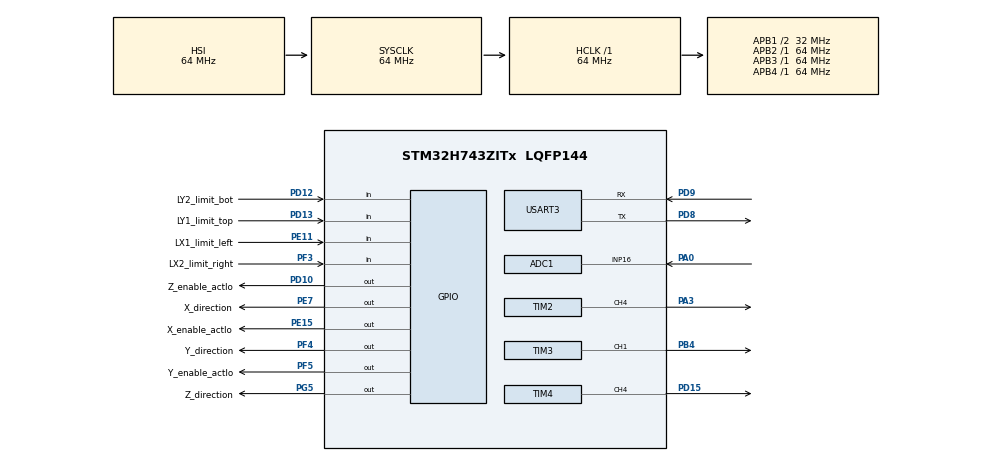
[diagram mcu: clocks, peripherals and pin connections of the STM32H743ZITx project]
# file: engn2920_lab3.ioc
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ADC1.Channel-0\#ChannelRegularConversion=ADC_CHANNEL_16
ADC1.NbrOfConversionFlag=1
ADC1.OffsetNumber-0\#ChannelRegularConversion=ADC_OFFSET_NONE
ADC1.OffsetSignedSaturation-0\#ChannelRegularConversion=DISABLE
ADC1.Rank-0\#ChannelRegularConversion=1
ADC1.SamplingTime-0\#ChannelRegularConversion=ADC_SAMPLETIME_1CYCLE_5
ADC1.master=1
Mcu.Family=STM32H7
Mcu.Name=STM32H743ZITx
Mcu.Package=LQFP144
NVIC.PriorityGroup=NVIC_PRIORITYGROUP_4
NVIC.TIM2_IRQn=true\:0\:0\:false\:false\:true\:true\:true\:true
NVIC.TIM3_IRQn=true\:0\:0\:false\:false\:true\:true\:true\:true
NVIC.TIM4_IRQn=true\:0\:0\:false\:false\:true\:true\:true\:true
PA0.Mode=IN16-Single-Ended
PA0.Signal=ADC1_INP16
PA3.Signal=S_TIM2_CH4
PB4\ (NJTRST).Signal=S_TIM3_CH1
PD10.GPIO_Label=Z_enable_actlo
PD10.PinState=GPIO_PIN_SET
PD10.Signal=GPIO_Output
PD12.GPIO_Label=LY2_limit_bot
PD12.Signal=GPIO_Input
PD13.GPIO_Label=LY1_limit_top
PD13.Signal=GPIO_Input
PD15.Signal=S_TIM4_CH4
PD8.Mode=Asynchronous
PD8.Signal=USART3_TX
PD9.Mode=Asynchronous
PD9.Signal=USART3_RX
PE11.GPIO_Label=LX1_limit_left
PE11.Signal=GPIO_Input
PE15.GPIO_Label=X_enable_actlo
PE15.PinState=GPIO_PIN_SET
PE15.Signal=GPIO_Output
PE7.GPIO_Label=X_direction
PE7.Signal=GPIO_Output
PF3.GPIO_Label=LX2_limit_right
PF3.Signal=GPIO_Input
PF4.GPIO_Label=Y_direction
PF4.Signal=GPIO_Output
PF5.GPIO_Label=Y_enable_actlo
PF5.PinState=GPIO_PIN_SET
PF5.Signal=GPIO_Output
PG5.GPIO_Label=Z_direction
PG5.Signal=GPIO_Output
ProjectManager.HeapSize=0x200
ProjectManager.StackSize=0x400
ProjectManager.TargetToolchain=STM32CubeIDE
RCC.ADCFreq_Value=75000000
RCC.APB1Freq_Value=32000000
RCC.APB2Freq_Value=64000000
RCC.APB3Freq_Value=64000000
RCC.APB4Freq_Value=64000000
RCC.CortexFreq_Value=64000000
RCC.D2PPRE1=RCC_APB1_DIV2
RCC.DIVM2=4
RCC.DIVN2=9
RCC.HCLKFreq_Value=64000000
RCC.PLL2FRACN=3072
RCC.SYSCLKFreq_VALUE=64000000
RCC.USBFreq_Value=129000000
SH.S_TIM2_CH4.0=TIM2_CH4,PWM Generation4 CH4
SH.S_TIM3_CH1.0=TIM3_CH1,PWM Generation1 CH1
SH.S_TIM4_CH4.0=TIM4_CH4,PWM Generation4 CH4
TIM2.Channel-PWM\ Generation4\ CH4=TIM_CHANNEL_4
TIM3.Channel-PWM\ Generation1\ CH1=TIM_CHANNEL_1
TIM4.Channel-PWM\ Generation4\ CH4=TIM_CHANNEL_4
USART3.VirtualMode-Asynchronous=VM_ASYNC
board=custom

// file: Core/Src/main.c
/* USER CODE BEGIN Header */
/**
  ******************************************************************************
  * @file           : main.c
  * @brief          : Main program body
  ******************************************************************************
  * @attention
  *
  * Copyright (c) 2024 STMicroelectronics.
  * All rights reserved.
  *
  * This software is licensed under terms that can be found in the LICENSE file
  * in the root directory of this software component.
  * If no LICENSE file comes with this software, it is provided AS-IS.
  *
  ******************************************************************************
  */
/* USER CODE END Header */
#include "main.h"

/* USER CODE BEGIN Includes */
#include <string.h>
#include <math.h>
#include <stdio.h>
#include <stdlib.h>
#include <stdarg.h>
#include <stdbool.h>
/* USER CODE END Includes */

/* USER CODE BEGIN PD */
#define X_TABLE_SIZE 500
#define Y_TABLE_SIZE 500

/*
#define x_on HAL_GPIO_WritePin(X_enable_actlo_GPIO_Port, X_enable_actlo_Pin, 0)
#define x_off HAL_GPIO_WritePin(X_enable_actlo_GPIO_Port, X_enable_actlo_Pin, 1)
#define x_move_left HAL_GPIO_WritePin(X_enable_actlo_GPIO_Port, X_enable_actlo_Pin, 1)
#define x_move_rigjt HAL_GPIO_WritePin(X_enable_actlo_GPIO_Port, X_enable_actlo_Pin, 0)
*/

/* USER CODE END PD */

ADC_HandleTypeDef hadc1;

TIM_HandleTypeDef htim2;
TIM_HandleTypeDef htim3;
TIM_HandleTypeDef htim4;

UART_HandleTypeDef huart3;

void SystemClock_Config(void);
static void MX_GPIO_Init(void);
static void MX_ADC1_Init(void);
static void MX_TIM2_Init(void);
static void MX_TIM3_Init(void);
static void MX_TIM4_Init(void);
static void MX_USART3_UART_Init(void);

/* USER CODE BEGIN 0 */
signed int x_pos=0;
signed int y_pos=0;
int arr_X[X_TABLE_SIZE];
int arr_Y[Y_TABLE_SIZE];

volatile bool X_moveCompleted = false;
volatile bool Y_moveCompleted = false;

int X_step_count = 0; //global
int Y_step_count = 0; //global
int X_moving = 0;
int Y_moving = 0;
int X_step_goal = 0;
int Y_step_goal = 0;
int X_period = 0;
int Y_period = 0;
int x_i;
int y_i;

int pen_is_down = 0;
int pen_is_up = 0;
uint32_t pen_pressure= 0;

static uint32_t gper=0;

static void myprintf (const char *fmt, ...)
{
	va_list arglist;
	int nby;
	unsigned char st[256];

	if (!fmt) return;
	va_start(arglist,fmt);
	nby = vsnprintf((char *)st,sizeof(st),fmt,arglist);
	va_end(arglist);
	if (nby < 0) { nby = sizeof(st)-1; } //print truncated string in case too long
	if (nby) HAL_UART_Transmit(&huart3,st,nby,10);
}

int mygetch (void) //Poll
{
	uint8_t ch = 0;
	if (HAL_UART_Receive(&huart3, (uint8_t *)&ch, 1, 0) == HAL_OK) return ch;
	return -1; //HAL_TIMEOUT
}

void generate_lookup_table(int *arr, int table_size) {
    float t_max = 0.75; // Maximum time to reach full speed
    int v_min= 2000;
	int v_max= 16000;
    float t = 0;
    int f = v_min;
    for (int i = 0; i < table_size; i++) {
        if (t < t_max) {
            t += (float)1/f;
            f = ((v_max - v_min) * t / t_max) + v_min;
            arr[i] = 64000000 / f;  // Calculate timer reload value based on frequency
        }
    }
}

int min(int a, int b) {
    return (a < b) ? a : b;
}

float x_ratio = 1.0;
float y_ratio = 1.0;
void HAL_TIM_PWM_PulseFinishedCallback(TIM_HandleTypeDef *htim)
{
   if (htim == &htim2 && X_moving)
   {
	   /*
		   float x_ratio = 1.0;
			   if (Y_step_goal > X_step_goal){
				   x_ratio = (Y_step_goal / X_step_goal);
				   int k = X_step_count * x_ratio;
				   x_i=  min(min(k, X_step_goal - k), X_TABLE_SIZE-1);
				   X_period = x_ratio * arr_X[x_i] - 1;
			   }else{
				   x_i = min(min(X_step_count, X_step_goal - X_step_count-1), X_TABLE_SIZE-1);
				   X_period = arr_X[x_i] - 1;
			   }
			   */

	   /*
	   if (Y_step_goal > X_step_goal){
		   x_ratio = (Y_step_goal / X_step_goal);
	   	   	   X_period = arr_X[100]*x_ratio  - 1;
	   }else{
		   //x_ratio=1.0;
		   //X_period = arr_X[100] - 1;
	   }
  			   TIM2->ARR = X_period-1;
  			   TIM2->CCR4 = X_period/2-1;

  			   */

		   if (X_step_count >= X_step_goal){
		   			  X_moving = 0;
		   			  HAL_GPIO_WritePin(X_enable_actlo_GPIO_Port, X_enable_actlo_Pin, 1);
		   			  TIM2->ARR = 0;
		   			  HAL_TIM_PWM_Stop_IT(&htim2, TIM_CHANNEL_4);
		   			  X_moveCompleted= true;
		   			  myprintf("DONE moving X %d\n\r",X_step_count);

		   			 Y_moving = 0;
				  HAL_GPIO_WritePin(Y_enable_actlo_GPIO_Port, Y_enable_actlo_Pin, 1);
				  TIM3->ARR = 0;
				  HAL_TIM_PWM_Stop_IT(&htim3, TIM_CHANNEL_1);
				  Y_moveCompleted = true;
				  myprintf("DONE moving Y %d\n\r",Y_step_goal);
		   		   }
		   X_step_count++;//=x_ratio;
   }

   if (htim == &htim3 && Y_moving)
     {
  			   /*
  			   if ( X_step_goal > Y_step_goal){
  				   y_ratio= (X_step_goal/Y_step_goal);
				   int k = Y_step_count * y_ratio;
				   y_i=  min(min(k, Y_step_goal  - k), Y_TABLE_SIZE-1);
				   //myprintf("y k= %d,  i= %d",k, y_i);
  			   }else{
  				 y_ratio=1.0;
  				   y_i = min(min(Y_step_count, Y_step_goal - Y_step_count-1), Y_TABLE_SIZE-1);
  			   }
  			   */
/*
	   	   	   	   if ( X_step_goal > Y_step_goal){
	     				   y_ratio= (X_step_goal/Y_step_goal);
	     				   Y_period = arr_Y[100]/y_ratio  - 1;
	   				   //myprintf("y k= %d,  i= %d",k, y_i);
	     			   }else{
	     				 y_ratio=1.0;
	     				 Y_period = arr_Y[100] - 1;
	     				  // y_i = min(min(Y_step_count, Y_step_goal - Y_step_count-1), Y_TABLE_SIZE-1);
	     			   }
	     			    	   	 TIM3->ARR = Y_period-1;
	   	  TIM3->CCR1 = Y_period/2-1;
*/
/*
  			   if(!gper){
  				   gper = y_ratio * arr_Y[100];
  				   TIM3->CCR1 = 1000-1;
  			   }else{
  				   TIM3->CCR1 = 0;
  			   }
  			   uint32_t u = min(gper>>(gper >= 65536),65536);
  			   TIM3->ARR = u-1;
  			   gper -= u;
  			    	   	 TIM3->ARR = Y_period-1;
	   	  TIM3->CCR1 = Y_period/2-1;

  			   */

/*
  			 if (Y_step_count/y_ratio >= Y_step_goal){
  			   			  Y_moving = 0;
  			   			  HAL_GPIO_WritePin(Y_enable_actlo_GPIO_Port, Y_enable_actlo_Pin, 1);
  			   			  TIM3->ARR = 0;
  			   			  HAL_TIM_PWM_Stop_IT(&htim3, TIM_CHANNEL_1);
  			   			  Y_moveCompleted = true;
  			   			  myprintf("DONE moving Y %d\n\r",Y_step_goal);
  			 }

  		 Y_step_count++;//y_ratio;
  		 */

     }

   if(htim == &htim4)
   {
	   // if pen up, move till adc #>
	   if (pen_pressure > 10000){
		   pen_is_down=1;
	   }

	   if(pen_pressure < 500 ){ //// if move pen down, move till adc #<
		   pen_is_up=1;
	   }
   }
}

void step_motor_X(int M, int x_dir){
	myprintf("X -> dir =%d, steps= %d %d\n\r",x_dir, M);
	X_moving = 1;
	X_step_goal = M;
	X_step_count = 0;
	x_i=0;

	TIM2->ARR = arr_X[0]-1; //write period for next cycle
	TIM2->CCR4 = 1000 ;

	HAL_GPIO_WritePin(X_enable_actlo_GPIO_Port, X_enable_actlo_Pin, 0);
	HAL_GPIO_WritePin(X_direction_GPIO_Port, X_direction_Pin, x_dir);

	HAL_TIM_PWM_Start_IT(&htim2, TIM_CHANNEL_4); // Start PWM
}

void step_motor_Y(int M,int y_dir){
	myprintf("Y -> dir =%d, steps= %d \n\r",y_dir, M);
	Y_moving = 1;
	Y_step_goal = M;
	Y_step_count = 0;
	y_i=0;

	TIM3->ARR = arr_Y[0]-1; //write period for next cycle
	TIM3->CCR1 = 1000 ;

	HAL_GPIO_WritePin(Y_enable_actlo_GPIO_Port, Y_enable_actlo_Pin, 0);
	HAL_GPIO_WritePin(Y_direction_GPIO_Port, Y_direction_Pin, y_dir);

	HAL_TIM_PWM_Start_IT(&htim3, TIM_CHANNEL_1); // Start PWM
}

void step_motor_XY(int M_x,int x_dir,int M_y,int y_dir){
		myprintf("step XY [%d, %d]\n\r",M_x,M_y);
		X_step_goal = M_x;
		X_step_count=0;

		float r = M_x/M_y;

		TIM2->ARR = r*arr_X[300]-1; //write period for next cycle
		TIM2->CCR4 = arr_X[0]/2 ;

		HAL_GPIO_WritePin(X_enable_actlo_GPIO_Port, X_enable_actlo_Pin, 0);
		HAL_GPIO_WritePin(X_direction_GPIO_Port, X_direction_Pin, x_dir);

		Y_step_goal = M_y;
		Y_step_count = 0;

		TIM3->ARR = arr_Y[300]-1; //write period for next cycle
		TIM3->CCR1 = arr_Y[0]/2 ;

		HAL_GPIO_WritePin(Y_enable_actlo_GPIO_Port, Y_enable_actlo_Pin, 0);
		HAL_GPIO_WritePin(Y_direction_GPIO_Port, Y_direction_Pin, y_dir);

		X_moving = 1;
		Y_moving = 1;

		HAL_TIM_PWM_Start_IT(&htim3, TIM_CHANNEL_1); // Start PWM
		HAL_TIM_PWM_Start_IT(&htim2, TIM_CHANNEL_4); // Start PWM
}

void waitForCompletion(){
	while(!X_moveCompleted || !Y_moveCompleted){
		//wait
	}
}

void move_X(int dir){
	TIM2->ARR = 10000-1; //write period for next cycle
	TIM2->CCR4 = 1000 ;

	HAL_GPIO_WritePin(X_enable_actlo_GPIO_Port, X_enable_actlo_Pin, 0);
	HAL_GPIO_WritePin(X_direction_GPIO_Port, X_direction_Pin, dir);

	HAL_TIM_PWM_Start(&htim2, TIM_CHANNEL_4); // Start PWM
}

void move_Y(int dir){
	TIM3->ARR = 10000-1; //write period for next cycle
	TIM3->CCR1 = 1000 ;

	HAL_GPIO_WritePin(Y_enable_actlo_GPIO_Port, Y_enable_actlo_Pin, 0);
	HAL_GPIO_WritePin(Y_direction_GPIO_Port, Y_direction_Pin, dir);

	HAL_TIM_PWM_Start(&htim3, TIM_CHANNEL_1); // Start PWM
}

void moveTo(int x, int y) {
	X_moveCompleted = false;
	Y_moveCompleted = false;

	int dx = (x - x_pos);
	int dy = (y - y_pos);
    // 控制电机移动到(x, y)
    // Function to convert x, y to motor steps and send commands to the motors
    // Convert x, y to steps
    int xSteps = abs(dx)*10;//convertToSteps(abs(dx));
    int ySteps = abs(dy)*10;
    int sx = dx > 0 ? 0 : 1 ;
    int sy = dy > 0 ? 1 : 0 ;

   //step_motor_X(xSteps,sx);
   //step_motor_Y(ySteps,sy);
    step_motor_XY(xSteps,sx,ySteps,sy);

    waitForCompletion();
    x_pos = x;
    y_pos = y;
    X_step_goal = 0;
    Y_step_goal = 0;
    //myprintf("Current position is, [%d,%d]\n\r",x_pos,y_pos);
}

int convertToSteps(int distance){
	int K= 10;//pulses/ revolution
	int L= 1 ;//cm/ revoltuion;
	return distance*K/L;
}

void pen_down(){
	TIM4->ARR = 320000-1; //write period for next cycle
	TIM4->CCR4 = 1000 ;

	HAL_GPIO_WritePin(Z_enable_actlo_GPIO_Port, Z_enable_actlo_Pin, 0);
	HAL_GPIO_WritePin(Z_direction_GPIO_Port, Z_direction_Pin, 0);

	HAL_TIM_PWM_Start_IT(&htim4, TIM_CHANNEL_4); // Start PWM

	while(!pen_is_down){
		HAL_ADC_Start(&hadc1);
		HAL_ADC_PollForConversion(&hadc1, HAL_MAX_DELAY);
		pen_pressure= HAL_ADC_GetValue(&hadc1);
	}

	  HAL_GPIO_WritePin(Z_enable_actlo_GPIO_Port, Z_enable_actlo_Pin, 1);
	  TIM2->ARR = 0;
	  TIM4->CCR4 = 0;
	  HAL_TIM_PWM_Stop_IT(&htim4, TIM_CHANNEL_4);
	  pen_is_up=0;

}

void pen_up(){
	TIM4->ARR = 320000-1; //write period for next cycle
	TIM4->CCR4 = 1000 ;

	HAL_GPIO_WritePin(Z_enable_actlo_GPIO_Port, Z_enable_actlo_Pin, 0);
	HAL_GPIO_WritePin(Z_direction_GPIO_Port, Z_direction_Pin, 1);

	HAL_TIM_PWM_Start_IT(&htim4, TIM_CHANNEL_4); // Start PWM

	while(!pen_is_up){
		HAL_ADC_Start(&hadc1);
		HAL_ADC_PollForConversion(&hadc1, HAL_MAX_DELAY);
		pen_pressure= HAL_ADC_GetValue(&hadc1);
	}

  HAL_GPIO_WritePin(Z_enable_actlo_GPIO_Port, Z_enable_actlo_Pin, 1);
  TIM2->ARR = 0;
  TIM4->CCR4 = 0;
  HAL_TIM_PWM_Stop_IT(&htim4, TIM_CHANNEL_4);
  pen_is_down=0;

}

void drawCircle(int radius) {
    int steps = 1000;//STEPS_PER_REVOLUTION;  // 用全圈的步数来决定细分度
    double PI=3.1415926;
    //double angle =1.0;
    for (int i = 0; i < steps; i++) {
        double angle = 2 * PI * i / steps;
        int x = 0+radius * cos(angle);
        int y = 0+radius * sin(angle);
        moveTo(x, y);
    }
}

void drawStar(int radius) {
	double angle =1.0;
	double PI=3.1415926;
    for (int i = 0; i < 5; i++) {
    	 angle = PI/2 +( i* (2*PI)/5);
		int x = radius * cos(angle);
		int y = radius * sin(angle);
		moveTo(x, y);
    }
}
/* USER CODE END 0 */

int main(void)
{

  /* MCU Configuration--------------------------------------------------------*/

  /* Reset of all peripheprals, Initializes the Flash interface and the Systick. */
  HAL_Init();

  /* Configure the system clock */
  SystemClock_Config();

  /* Initialize all configured peripherals */
  MX_GPIO_Init();
  MX_ADC1_Init();
  MX_TIM2_Init();
  MX_TIM3_Init();
  MX_TIM4_Init();
  MX_USART3_UART_Init();

  /* USER CODE BEGIN 2 */
  myprintf("--Program Start here \n\r");

  int key=0;
  generate_lookup_table(arr_X, X_TABLE_SIZE);
  generate_lookup_table(arr_Y, Y_TABLE_SIZE);

  //step_motor_X(-1000,0);
  //move_motor_Y(1000,1);

 //moveTo(500,300);
  drawStar(10);
 //waitForCompletion();

 //moveTo(0,0);
//drawCircle(100);
  /* USER CODE END 2 */

  /* Infinite loop */
  /* USER CODE BEGIN WHILE */
  while (1)
  {
	  key= mygetch();
	  if (key=='a'){ //left
		  myprintf("left\n\r");
		  move_X(1);
	  }else if (key=='d'){ // right

		  myprintf("right\n\r");
		  move_X(0);
	  }else if (key=='w'){ // up// back
		  myprintf("up\n\r");
		  move_Y(1);
	  }else if (key=='x'){ // down// front
		  myprintf("down\n\r");
		  move_Y(0);
	  }else if (key=='p'){ // down// front
		  myprintf("pen down\n\r");
		  pen_down();

		  /*
			TIM4->ARR = 320000-1; //write period for next cycle
			TIM4->CCR4 = 1000 ;

			HAL_GPIO_WritePin(Z_enable_actlo_GPIO_Port, Z_enable_actlo_Pin, 0);
			HAL_GPIO_WritePin(Z_direction_GPIO_Port, Z_direction_Pin, 0);
d
			HAL_TIM_PWM_Start_IT(&htim4, TIM_CHANNEL_4); // Start PWM
			*/
	  }else if (key=='u'){
 		  myprintf("pen up\n\r");
 		 pen_up();
 		 /*
 		 	TIM4->ARR = 320000-1; //write period for next cycle
 		 	TIM4->CCR4 = 1000 ;

 		 	HAL_GPIO_WritePin(Z_enable_actlo_GPIO_Port, Z_enable_actlo_Pin, 0);
 		 	HAL_GPIO_WritePin(Z_direction_GPIO_Port, Z_direction_Pin, 1);

 		 	HAL_TIM_PWM_Start_IT(&htim4, TIM_CHANNEL_4); // Start PWM
 		 	*/
	  }else if(key=='s'){
		  myprintf("stop\n\r");
		  HAL_GPIO_WritePin(X_enable_actlo_GPIO_Port, X_enable_actlo_Pin, 1);
		  TIM2->ARR = 0;
		  TIM2->CCR4 = 0;
		  HAL_TIM_PWM_Stop_IT(&htim2, TIM_CHANNEL_4);

		  HAL_GPIO_WritePin(Y_enable_actlo_GPIO_Port, Y_enable_actlo_Pin, 1);
		  TIM3->ARR = 0;
		  TIM3->CCR1 = 0;
		  HAL_TIM_PWM_Stop_IT(&htim3, TIM_CHANNEL_1);

		  HAL_GPIO_WritePin(Z_enable_actlo_GPIO_Port, Z_enable_actlo_Pin, 1);
		  TIM2->ARR = 0;
		  TIM4->CCR4 = 0;
		  HAL_TIM_PWM_Stop_IT(&htim4, TIM_CHANNEL_4);
	  }else if(key=='t'){   //// test adc feed back
		  HAL_ADC_PollForConversion(&hadc1, 100);
		  pen_pressure= HAL_ADC_GetValue(&hadc1);
		  myprintf("pressure_z %d\n\r", pen_pressure);
	  }else if (key=='i'){
 		  myprintf("pen up\n\r");
 		 	TIM4->ARR = 320000-1; //write period for next cycle
 		 	TIM4->CCR4 = 1000 ;

 		 	HAL_GPIO_WritePin(Z_enable_actlo_GPIO_Port, Z_enable_actlo_Pin, 0);
 		 	HAL_GPIO_WritePin(Z_direction_GPIO_Port, Z_direction_Pin, 1);

 		 	HAL_TIM_PWM_Start_IT(&htim4, TIM_CHANNEL_4); // Start PWM
	  }else if (key=='o'){
 		  myprintf("pen down\n\r");
 		 	TIM4->ARR = 320000-1; //write period for next cycle
 		 	TIM4->CCR4 = 1000 ;

 		 	HAL_GPIO_WritePin(Z_enable_actlo_GPIO_Port, Z_enable_actlo_Pin, 0);
 		 	HAL_GPIO_WritePin(Z_direction_GPIO_Port, Z_direction_Pin, 0);

 		 	HAL_TIM_PWM_Start_IT(&htim4, TIM_CHANNEL_4); // Start PWM
	  }

    /* USER CODE END WHILE */

  }
}

void SystemClock_Config(void)
{
  RCC_OscInitTypeDef RCC_OscInitStruct = {0};
  RCC_ClkInitTypeDef RCC_ClkInitStruct = {0};

  /** Supply configuration update enable
  */
  HAL_PWREx_ConfigSupply(PWR_LDO_SUPPLY);

  /** Configure the main internal regulator output voltage
  */
  __HAL_PWR_VOLTAGESCALING_CONFIG(PWR_REGULATOR_VOLTAGE_SCALE3);

  while(!__HAL_PWR_GET_FLAG(PWR_FLAG_VOSRDY)) {}

  /** Macro to configure the PLL clock source
  */
  __HAL_RCC_PLL_PLLSOURCE_CONFIG(RCC_PLLSOURCE_HSI);

  /** Initializes the RCC Oscillators according to the specified parameters
  * in the RCC_OscInitTypeDef structure.
  */
  RCC_OscInitStruct.OscillatorType = RCC_OSCILLATORTYPE_HSI;
  RCC_OscInitStruct.HSIState = RCC_HSI_DIV1;
  RCC_OscInitStruct.HSICalibrationValue = RCC_HSICALIBRATION_DEFAULT;
  RCC_OscInitStruct.PLL.PLLState = RCC_PLL_NONE;
  if (HAL_RCC_OscConfig(&RCC_OscInitStruct) != HAL_OK)
  {
    Error_Handler();
  }

  /** Initializes the CPU, AHB and APB buses clocks
  */
  RCC_ClkInitStruct.ClockType = RCC_CLOCKTYPE_HCLK|RCC_CLOCKTYPE_SYSCLK
                              |RCC_CLOCKTYPE_PCLK1|RCC_CLOCKTYPE_PCLK2
                              |RCC_CLOCKTYPE_D3PCLK1|RCC_CLOCKTYPE_D1PCLK1;
  RCC_ClkInitStruct.SYSCLKSource = RCC_SYSCLKSOURCE_HSI;
  RCC_ClkInitStruct.SYSCLKDivider = RCC_SYSCLK_DIV1;
  RCC_ClkInitStruct.AHBCLKDivider = RCC_HCLK_DIV1;
  RCC_ClkInitStruct.APB3CLKDivider = RCC_APB3_DIV1;
  RCC_ClkInitStruct.APB1CLKDivider = RCC_APB1_DIV2;
  RCC_ClkInitStruct.APB2CLKDivider = RCC_APB2_DIV1;
  RCC_ClkInitStruct.APB4CLKDivider = RCC_APB4_DIV1;

  if (HAL_RCC_ClockConfig(&RCC_ClkInitStruct, FLASH_LATENCY_1) != HAL_OK)
  {
    Error_Handler();
  }
}

static void MX_ADC1_Init(void)
{

  ADC_MultiModeTypeDef multimode = {0};
  ADC_ChannelConfTypeDef sConfig = {0};

  /** Common config
  */
  hadc1.Instance = ADC1;
  hadc1.Init.ClockPrescaler = ADC_CLOCK_ASYNC_DIV2;
  hadc1.Init.Resolution = ADC_RESOLUTION_16B;
  hadc1.Init.ScanConvMode = ADC_SCAN_DISABLE;
  hadc1.Init.EOCSelection = ADC_EOC_SINGLE_CONV;
  hadc1.Init.LowPowerAutoWait = DISABLE;
  hadc1.Init.ContinuousConvMode = DISABLE;
  hadc1.Init.NbrOfConversion = 1;
  hadc1.Init.DiscontinuousConvMode = DISABLE;
  hadc1.Init.ExternalTrigConv = ADC_SOFTWARE_START;
  hadc1.Init.ExternalTrigConvEdge = ADC_EXTERNALTRIGCONVEDGE_NONE;
  hadc1.Init.ConversionDataManagement = ADC_CONVERSIONDATA_DR;
  hadc1.Init.Overrun = ADC_OVR_DATA_PRESERVED;
  hadc1.Init.LeftBitShift = ADC_LEFTBITSHIFT_NONE;
  hadc1.Init.OversamplingMode = DISABLE;
  if (HAL_ADC_Init(&hadc1) != HAL_OK)
  {
    Error_Handler();
  }

  /** Configure the ADC multi-mode
  */
  multimode.Mode = ADC_MODE_INDEPENDENT;
  if (HAL_ADCEx_MultiModeConfigChannel(&hadc1, &multimode) != HAL_OK)
  {
    Error_Handler();
  }

  /** Configure Regular Channel
  */
  sConfig.Channel = ADC_CHANNEL_16;
  sConfig.Rank = ADC_REGULAR_RANK_1;
  sConfig.SamplingTime = ADC_SAMPLETIME_1CYCLE_5;
  sConfig.SingleDiff = ADC_SINGLE_ENDED;
  sConfig.OffsetNumber = ADC_OFFSET_NONE;
  sConfig.Offset = 0;
  sConfig.OffsetSignedSaturation = DISABLE;
  if (HAL_ADC_ConfigChannel(&hadc1, &sConfig) != HAL_OK)
  {
    Error_Handler();
  }

}

static void MX_TIM2_Init(void)
{

  TIM_MasterConfigTypeDef sMasterConfig = {0};
  TIM_OC_InitTypeDef sConfigOC = {0};

  htim2.Instance = TIM2;
  htim2.Init.Prescaler = 0;
  htim2.Init.CounterMode = TIM_COUNTERMODE_UP;
  htim2.Init.Period = 4294967295;
  htim2.Init.ClockDivision = TIM_CLOCKDIVISION_DIV1;
  htim2.Init.AutoReloadPreload = TIM_AUTORELOAD_PRELOAD_DISABLE;
  if (HAL_TIM_PWM_Init(&htim2) != HAL_OK)
  {
    Error_Handler();
  }
  sMasterConfig.MasterOutputTrigger = TIM_TRGO_RESET;
  sMasterConfig.MasterSlaveMode = TIM_MASTERSLAVEMODE_DISABLE;
  if (HAL_TIMEx_MasterConfigSynchronization(&htim2, &sMasterConfig) != HAL_OK)
  {
    Error_Handler();
  }
  sConfigOC.OCMode = TIM_OCMODE_PWM1;
  sConfigOC.Pulse = 0;
  sConfigOC.OCPolarity = TIM_OCPOLARITY_HIGH;
  sConfigOC.OCFastMode = TIM_OCFAST_DISABLE;
  if (HAL_TIM_PWM_ConfigChannel(&htim2, &sConfigOC, TIM_CHANNEL_4) != HAL_OK)
  {
    Error_Handler();
  }
  HAL_TIM_MspPostInit(&htim2);

}

static void MX_TIM3_Init(void)
{

  TIM_MasterConfigTypeDef sMasterConfig = {0};
  TIM_OC_InitTypeDef sConfigOC = {0};

  htim3.Instance = TIM3;
  htim3.Init.Prescaler = 0;
  htim3.Init.CounterMode = TIM_COUNTERMODE_UP;
  htim3.Init.Period = 65535;
  htim3.Init.ClockDivision = TIM_CLOCKDIVISION_DIV1;
  htim3.Init.AutoReloadPreload = TIM_AUTORELOAD_PRELOAD_DISABLE;
  if (HAL_TIM_PWM_Init(&htim3) != HAL_OK)
  {
    Error_Handler();
  }
  sMasterConfig.MasterOutputTrigger = TIM_TRGO_RESET;
  sMasterConfig.MasterSlaveMode = TIM_MASTERSLAVEMODE_DISABLE;
  if (HAL_TIMEx_MasterConfigSynchronization(&htim3, &sMasterConfig) != HAL_OK)
  {
    Error_Handler();
  }
  sConfigOC.OCMode = TIM_OCMODE_PWM1;
  sConfigOC.Pulse = 0;
  sConfigOC.OCPolarity = TIM_OCPOLARITY_HIGH;
  sConfigOC.OCFastMode = TIM_OCFAST_DISABLE;
  if (HAL_TIM_PWM_ConfigChannel(&htim3, &sConfigOC, TIM_CHANNEL_1) != HAL_OK)
  {
    Error_Handler();
  }
  HAL_TIM_MspPostInit(&htim3);

}

static void MX_TIM4_Init(void)
{

  TIM_MasterConfigTypeDef sMasterConfig = {0};
  TIM_OC_InitTypeDef sConfigOC = {0};

  htim4.Instance = TIM4;
  htim4.Init.Prescaler = 0;
  htim4.Init.CounterMode = TIM_COUNTERMODE_UP;
  htim4.Init.Period = 65535;
  htim4.Init.ClockDivision = TIM_CLOCKDIVISION_DIV1;
  htim4.Init.AutoReloadPreload = TIM_AUTORELOAD_PRELOAD_DISABLE;
  if (HAL_TIM_PWM_Init(&htim4) != HAL_OK)
  {
    Error_Handler();
  }
  sMasterConfig.MasterOutputTrigger = TIM_TRGO_RESET;
  sMasterConfig.MasterSlaveMode = TIM_MASTERSLAVEMODE_DISABLE;
  if (HAL_TIMEx_MasterConfigSynchronization(&htim4, &sMasterConfig) != HAL_OK)
  {
    Error_Handler();
  }
  sConfigOC.OCMode = TIM_OCMODE_PWM1;
  sConfigOC.Pulse = 0;
  sConfigOC.OCPolarity = TIM_OCPOLARITY_HIGH;
  sConfigOC.OCFastMode = TIM_OCFAST_DISABLE;
  if (HAL_TIM_PWM_ConfigChannel(&htim4, &sConfigOC, TIM_CHANNEL_4) != HAL_OK)
  {
    Error_Handler();
  }
  HAL_TIM_MspPostInit(&htim4);

}

static void MX_USART3_UART_Init(void)
{

  huart3.Instance = USART3;
  huart3.Init.BaudRate = 115200;
  huart3.Init.WordLength = UART_WORDLENGTH_8B;
  huart3.Init.StopBits = UART_STOPBITS_1;
  huart3.Init.Parity = UART_PARITY_NONE;
  huart3.Init.Mode = UART_MODE_TX_RX;
  huart3.Init.HwFlowCtl = UART_HWCONTROL_NONE;
  huart3.Init.OverSampling = UART_OVERSAMPLING_16;
  huart3.Init.OneBitSampling = UART_ONE_BIT_SAMPLE_DISABLE;
  huart3.Init.ClockPrescaler = UART_PRESCALER_DIV1;
  huart3.AdvancedInit.AdvFeatureInit = UART_ADVFEATURE_NO_INIT;
  if (HAL_UART_Init(&huart3) != HAL_OK)
  {
    Error_Handler();
  }
  if (HAL_UARTEx_SetTxFifoThreshold(&huart3, UART_TXFIFO_THRESHOLD_1_8) != HAL_OK)
  {
    Error_Handler();
  }
  if (HAL_UARTEx_SetRxFifoThreshold(&huart3, UART_RXFIFO_THRESHOLD_1_8) != HAL_OK)
  {
    Error_Handler();
  }
  if (HAL_UARTEx_DisableFifoMode(&huart3) != HAL_OK)
  {
    Error_Handler();
  }

}

static void MX_GPIO_Init(void)
{
  GPIO_InitTypeDef GPIO_InitStruct = {0};

  /* GPIO Ports Clock Enable */
  __HAL_RCC_GPIOF_CLK_ENABLE();
  __HAL_RCC_GPIOA_CLK_ENABLE();
  __HAL_RCC_GPIOE_CLK_ENABLE();
  __HAL_RCC_GPIOD_CLK_ENABLE();
  __HAL_RCC_GPIOG_CLK_ENABLE();
  __HAL_RCC_GPIOB_CLK_ENABLE();

  /*Configure GPIO pin Output Level */
  HAL_GPIO_WritePin(Y_direction_GPIO_Port, Y_direction_Pin, GPIO_PIN_RESET);

  /*Configure GPIO pin Output Level */
  HAL_GPIO_WritePin(Y_enable_actlo_GPIO_Port, Y_enable_actlo_Pin, GPIO_PIN_SET);

  /*Configure GPIO pin Output Level */
  HAL_GPIO_WritePin(X_direction_GPIO_Port, X_direction_Pin, GPIO_PIN_RESET);

  /*Configure GPIO pin Output Level */
  HAL_GPIO_WritePin(X_enable_actlo_GPIO_Port, X_enable_actlo_Pin, GPIO_PIN_SET);

  /*Configure GPIO pin Output Level */
  HAL_GPIO_WritePin(Z_enable_actlo_GPIO_Port, Z_enable_actlo_Pin, GPIO_PIN_SET);

  /*Configure GPIO pin Output Level */
  HAL_GPIO_WritePin(Z_direction_GPIO_Port, Z_direction_Pin, GPIO_PIN_RESET);

  /*Configure GPIO pin : LX2_limit_right_Pin */
  GPIO_InitStruct.Pin = LX2_limit_right_Pin;
  GPIO_InitStruct.Mode = GPIO_MODE_INPUT;
  GPIO_InitStruct.Pull = GPIO_NOPULL;
  HAL_GPIO_Init(LX2_limit_right_GPIO_Port, &GPIO_InitStruct);

  /*Configure GPIO pins : Y_direction_Pin Y_enable_actlo_Pin */
  GPIO_InitStruct.Pin = Y_direction_Pin|Y_enable_actlo_Pin;
  GPIO_InitStruct.Mode = GPIO_MODE_OUTPUT_PP;
  GPIO_InitStruct.Pull = GPIO_NOPULL;
  GPIO_InitStruct.Speed = GPIO_SPEED_FREQ_LOW;
  HAL_GPIO_Init(GPIOF, &GPIO_InitStruct);

  /*Configure GPIO pins : X_direction_Pin X_enable_actlo_Pin */
  GPIO_InitStruct.Pin = X_direction_Pin|X_enable_actlo_Pin;
  GPIO_InitStruct.Mode = GPIO_MODE_OUTPUT_PP;
  GPIO_InitStruct.Pull = GPIO_NOPULL;
  GPIO_InitStruct.Speed = GPIO_SPEED_FREQ_LOW;
  HAL_GPIO_Init(GPIOE, &GPIO_InitStruct);

  /*Configure GPIO pin : LX1_limit_left_Pin */
  GPIO_InitStruct.Pin = LX1_limit_left_Pin;
  GPIO_InitStruct.Mode = GPIO_MODE_INPUT;
  GPIO_InitStruct.Pull = GPIO_NOPULL;
  HAL_GPIO_Init(LX1_limit_left_GPIO_Port, &GPIO_InitStruct);

  /*Configure GPIO pin : Z_enable_actlo_Pin */
  GPIO_InitStruct.Pin = Z_enable_actlo_Pin;
  GPIO_InitStruct.Mode = GPIO_MODE_OUTPUT_PP;
  GPIO_InitStruct.Pull = GPIO_NOPULL;
  GPIO_InitStruct.Speed = GPIO_SPEED_FREQ_LOW;
  HAL_GPIO_Init(Z_enable_actlo_GPIO_Port, &GPIO_InitStruct);

  /*Configure GPIO pins : LY2_limit_bot_Pin LY1_limit_top_Pin */
  GPIO_InitStruct.Pin = LY2_limit_bot_Pin|LY1_limit_top_Pin;
  GPIO_InitStruct.Mode = GPIO_MODE_INPUT;
  GPIO_InitStruct.Pull = GPIO_NOPULL;
  HAL_GPIO_Init(GPIOD, &GPIO_InitStruct);

  /*Configure GPIO pin : Z_direction_Pin */
  GPIO_InitStruct.Pin = Z_direction_Pin;
  GPIO_InitStruct.Mode = GPIO_MODE_OUTPUT_PP;
  GPIO_InitStruct.Pull = GPIO_NOPULL;
  GPIO_InitStruct.Speed = GPIO_SPEED_FREQ_LOW;
  HAL_GPIO_Init(Z_direction_GPIO_Port, &GPIO_InitStruct);

}

void Error_Handler(void)
{
  __disable_irq();
  while (1)
  {
  }
}
